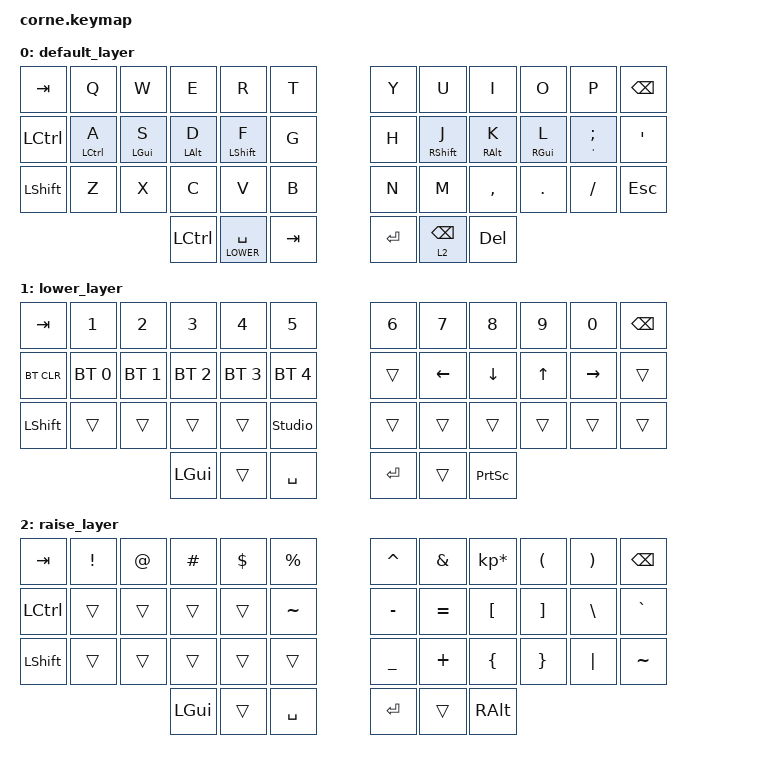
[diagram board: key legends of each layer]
/*
 * Copyright (c) 2020 The ZMK Contributors
 *
 * SPDX-License-Identifier: MIT
 */

#include <behaviors.dtsi>
#include <dt-bindings/zmk/keys.h>
#include <dt-bindings/zmk/bt.h>
#include <dt-bindings/zmk/ext_power.h>
#include <dt-bindings/zmk/outputs.h>

#define DEFAULT 0
#define LOWER   1
#define RAISE   2
&lt {
    quick-tap-ms = <200>;
};

/ {
    behaviors {
        hm: homerow_mods {
            compatible = "zmk,behavior-hold-tap";
            label = "HOMEROW_MODS";
            #binding-cells = <2>;
            tapping-term-ms = <150>;
            quick-tap-ms = <0>;
            flavor = "tap-preferred";
            bindings = <&kp>, <&kp>;
        };

    };

        keymap {
                compatible = "zmk,keymap";

                default_layer {
// -----------------------------------------------------------------------------------------
// |  TAB |  Q  |  W  |  E  |  R  |  T  |   |  Y  |  U   |  I  |  O  |  P  | BKSP |
// | CTRL |  A  |  S  |  D  |  F  |  G  |   |  H  |  J   |  K  |  L  |  ;  |  '   |
// | SHFT |  Z  |  X  |  C  |  V  |  B  |   |  N  |  M   |  ,  |  .  |  /  | ESC  |
//                    | LWR | SPC | TAB |   | ENT | BSPC  | RSE |
                        bindings = <
   &kp TAB   &kp Q &kp W &kp E &kp R &kp T   &kp Y &kp U  &kp I     &kp O   &kp P    &kp BSPC
   &kp LCTRL &hm LCTRL A &hm LGUI S &hm LALT D &hm LSHIFT F &kp G    &kp H &hm RSHIFT J  &hm RALT K &hm RGUI L &hm SQT SEMI &kp SQT
   &kp LSHFT &kp Z &kp X &kp C &kp V &kp B   &kp N &kp M  &kp COMMA &kp DOT &kp FSLH &kp ESC
                  &kp LCTRL &lt LOWER SPACE &kp TAB   &kp RET &lt 2 BSPC &kp DEL
                        >;
                };
                lower_layer {
// -----------------------------------------------------------------------------------------
// |  TAB |  1  |  2  |  3  |  4  |  5  |   |  6  |  7  |  8  |  9  |  0  | BKSP |
// | BTCLR| BT1 | BT2 | BT3 | BT4 | BT5 |   | LFT | DWN |  UP | RGT |     |      |
// | SHFT |     |     |     |     |studio|   |     |     |     |     |     |      |
//                    | GUI |     | SPC |   | ENT |     | PSCRN |
                        bindings = <
   &kp TAB    &kp N1       &kp N2       &kp N3       &kp N4       &kp N5         &kp N6   &kp N7   &kp N8 &kp N9    &kp N0 &kp BSPC
   &bt BT_CLR &bt BT_SEL 0 &bt BT_SEL 1 &bt BT_SEL 2 &bt BT_SEL 3 &bt BT_SEL 4   &trans &kp LEFT &kp DOWN &kp UP &kp RIGHT  &trans
   &kp LSHFT  &trans       &trans       &trans       &trans   &studio_unlock            &trans   &trans   &trans &trans    &trans &trans
                                    &kp LGUI     &trans       &kp SPACE      &kp RET  &trans   &kp PSCRN
                        >;
                };

                raise_layer {
// -----------------------------------------------------------------------------------------
// |  TAB |  !  |  @  |  #  |  $  |  %  |   |  ^  |  &  |  *  |  (  |  )  | BKSP |
// | CTRL |     |     |     |     |  ~  |   |  -  |  =  |  [  |  ]  |  \  |  `   |
// | SHFT |     |     |     |     |     |   |  _  |  +  |  {  |  }  | "|" |  ~   |
//                    | GUI |     | SPC |   | ENT |     | ALT |
                        bindings = <
   &kp  TAB  &kp EXCL &kp AT &kp HASH &kp DLLR &kp PRCNT   &kp CARET &kp AMPS  &kp KP_MULTIPLY &kp LPAR &kp RPAR &kp BSPC
   &kp LCTRL &trans   &trans &trans   &trans   &kp TILDE      &kp MINUS &kp EQUAL &kp LBKT        &kp RBKT &kp BSLH &kp GRAVE
   &kp LSHFT &trans   &trans &trans   &trans   &trans      &kp UNDER &kp PLUS  &kp LBRC        &kp RBRC &kp PIPE &kp TILDE
                             &kp LGUI &trans   &kp SPACE   &kp RET   &trans    &kp RALT
                        >;
                };
        };
};
